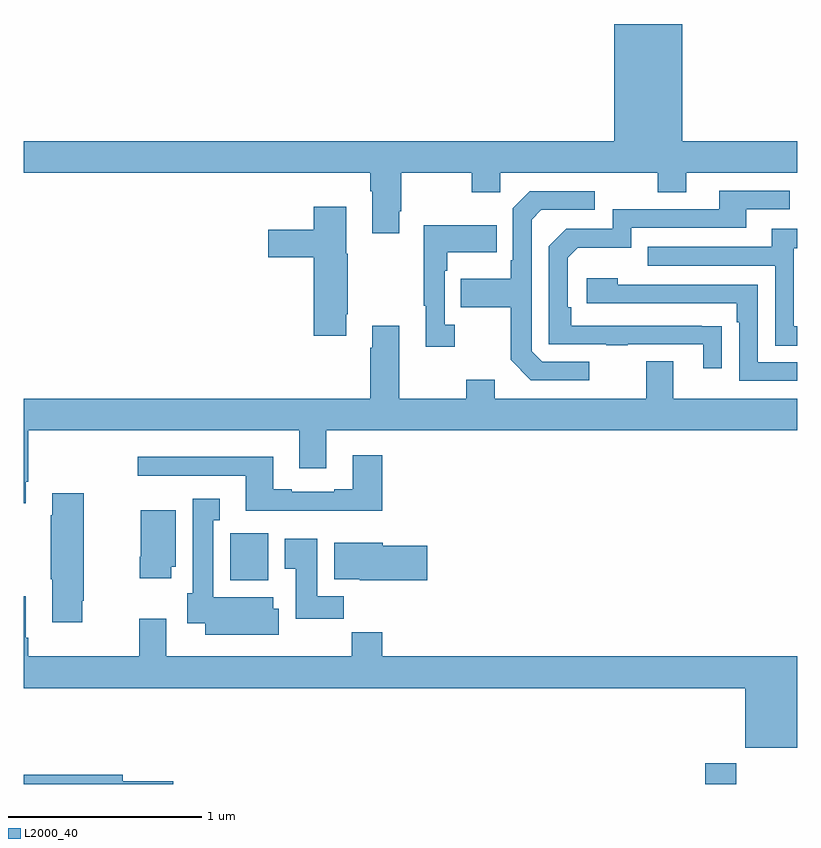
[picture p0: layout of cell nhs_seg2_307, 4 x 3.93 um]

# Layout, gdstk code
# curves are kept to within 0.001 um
import gdstk
lib = gdstk.Library(unit=1e-6, precision=1e-09)
def R(c, l, rs):  # rectangles x0, y0, x1, y1
    for r in rs: c.add(gdstk.rectangle(r[:2], r[2:], *l))
def P(c, l, *ps):  # polygons
    for p in ps: c.add(gdstk.Polygon(p, *l))
L2000_40 = (2000, 40)

nhs_seg2_307 = lib.new_cell('nhs_seg2_307')
R(nhs_seg2_307, L2000_40, [(128.525,653.8,128.685,653.908), (126.068,654.854,126.265,655.096)])
P(nhs_seg2_307, L2000_40, [(126.943,656.761),(126.951,656.761),(126.951,656.96),(127.318,656.96),(127.318,656.861),(127.464,656.861),(127.464,656.96),(128.278,656.96),(128.278,656.861),(128.425,656.861),(128.425,656.96),(129,656.96),(129,657.124),(128.404,657.124),(128.404,657.73),(128.054,657.73),(128.054,657.124),(125,657.124),(125,656.96),(126.791,656.96),(126.791,656.864),(126.803,656.864),(126.803,656.649),(126.943,656.649)],
  [(128.609,656.168),(127.832,656.169),(127.832,656.266),(127.812,656.266),(127.812,656.52),(127.865,656.573),(128.142,656.573),(128.142,656.676),(128.737,656.676),(128.737,656.772),(128.962,656.772),(128.962,656.868),(128.597,656.868),(128.597,656.772),(128.046,656.772),(128.046,656.67),(127.806,656.67),(127.716,656.58),(127.716,656.073),(128.011,656.073),(128.011,656.068),(128.123,656.068),(128.123,656.073),(128.513,656.073),(128.513,655.95),(128.609,655.95)],
  [(127.924,655.983),(127.68,655.983),(127.626,656.037),(127.626,656.718),(127.677,656.769),(127.954,656.769),(127.954,656.865),(127.617,656.865),(127.53,656.778),(127.53,656.509),(127.518,656.509),(127.518,656.413),(127.261,656.413),(127.261,656.266),(127.518,656.266),(127.518,655.993),(127.623,655.887),(127.924,655.887)],
  [(126.667,656.23),(126.675,656.23),(126.675,656.541),(126.667,656.541),(126.667,656.785),(126.5,656.785),(126.5,656.667),(126.264,656.667),(126.264,656.525),(126.5,656.525),(126.5,656.118),(126.667,656.118)],
  [(127.228,656.174),(127.176,656.174),(127.176,656.453),(127.189,656.453),(127.189,656.549),(127.445,656.549),(127.445,656.689),(127.068,656.689),(127.068,656.273),(127.079,656.273),(127.079,656.061),(127.228,656.061)],
  [(129,656.166),(128.982,656.166),(128.982,656.571),(129,656.571),(129,656.671),(128.867,656.671),(128.867,656.577),(128.227,656.577),(128.227,656.481),(128.886,656.481),(128.886,656.065),(129,656.065)],
  [(129,655.98),(128.796,655.98),(128.796,656.382),(128.072,656.382),(128.072,656.416),(127.911,656.416),(127.911,656.286),(128.687,656.286),(128.687,656.189),(128.7,656.189),(128.7,655.884),(129,655.884)],
  [(125.011,655.363),(125.024,655.363),(125.024,655.628),(126.425,655.628),(126.425,655.434),(126.565,655.434),(126.565,655.628),(129,655.628),(129,655.792),(128.359,655.792),(128.359,655.987),(128.219,655.987),(128.219,655.792),(127.435,655.792),(127.435,655.891),(127.288,655.891),(127.288,655.792),(126.943,655.792),(126.943,656.17),(126.803,656.17),(126.803,656.057),(126.791,656.057),(126.791,655.792),(125,655.792),(125,655.251),(125.011,655.251)],
  [(126.854,655.501),(126.701,655.501),(126.701,655.324),(126.605,655.324),(126.605,655.311),(126.385,655.311),(126.385,655.324),(126.289,655.324),(126.289,655.492),(125.589,655.492),(125.589,655.395),(126.149,655.395),(126.149,655.214),(126.854,655.214)],
  [(125.302,654.748),(125.31,654.748),(125.31,655.303),(125.147,655.303),(125.147,655.19),(125.14,655.19),(125.14,654.859),(125.147,654.859),(125.147,654.636),(125.302,654.636)],
  [(126.319,654.707),(126.289,654.707),(126.289,654.766),(125.98,654.766),(125.98,655.163),(126.013,655.163),(126.013,655.276),(125.873,655.276),(125.873,654.786),(125.846,654.786),(125.846,654.632),(125.939,654.632),(125.939,654.572),(126.319,654.572)],
  [(125.764,654.924),(125.785,654.924),(125.785,655.216),(125.606,655.216),(125.606,654.976),(125.599,654.976),(125.599,654.864),(125.764,654.864)],
  [(126.656,654.772),(126.517,654.772),(126.517,655.069),(126.35,655.069),(126.35,654.913),(126.407,654.913),(126.407,654.654),(126.656,654.654)],
  [(127.087,655.031),(126.856,655.031),(126.856,655.048),(126.605,655.048),(126.605,654.86),(126.738,654.86),(126.738,654.854),(127.087,654.854)],
  [(129,654.46),(126.854,654.46),(126.854,654.584),(126.697,654.584),(126.697,654.46),(125.737,654.46),(125.737,654.655),(125.597,654.655),(125.597,654.46),(125.024,654.46),(125.024,654.556),(125.011,654.556),(125.011,654.772),(125,654.772),(125,654.296),(128.732,654.296),(128.732,653.987),(129,653.987)],
  [(125.773,653.814),(125.512,653.814),(125.512,653.848),(125,653.848),(125,653.8),(125.773,653.8)])

lib.write_gds('nhs_seg2_307.gds')
